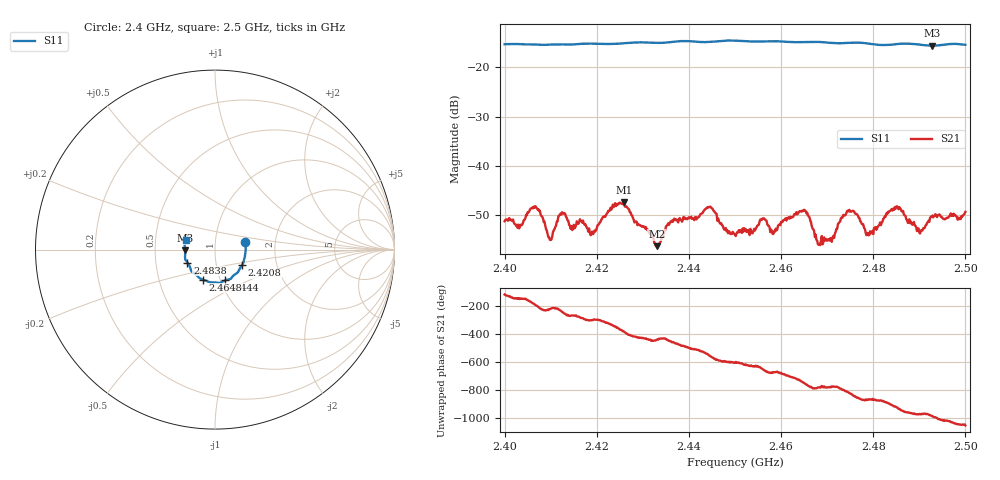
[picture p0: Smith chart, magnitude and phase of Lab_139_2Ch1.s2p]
# Hz S RI R 50
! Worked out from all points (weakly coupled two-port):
!   601 points, 2.4 GHz to 2.5 GHz, reference 50 ohm
!   highest |S21| = -47.42 dB at 2.4258 GHz (marker M1); lowest = -56.3 dB at 2.433 GHz (marker M2)
!   lowest |S11| = -15.6 dB at 2.4928 GHz (marker M3), VSWR 1.40, Z = 35.7 - j0.322 ohm
!   |S11| at or under -10 dB: start of sweep to end of sweep
!   S12 and S22 are empty: the file has one direction only
!   S11 on the Smith chart (normalised r, x): 2.4 GHz: 1.39, +0.12; 2.4208 GHz: 1.33, -0.24; 2.444 GHz: 1.05, -0.37; 2.4648 GHz: 0.83, -0.29; 2.4838 GHz: 0.73, -0.11; 2.5 GHz: 0.72, +0.08
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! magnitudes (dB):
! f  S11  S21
! 2.4 GHz  -15.3  -51.2
! 2.4068 GHz  -15.4  -48.4
! 2.4098 GHz  -15.4  -55.0
! 2.4122 GHz  -15.3  -49.7
! 2.4167 GHz  -15.2  -51.3
! 2.4208 GHz  -15.2  -51.3
! 2.4258 GHz  -15.1  -47.4
! 2.433 GHz  -15.0  -56.3
! 2.4333 GHz  -15.0  -56.3
! 2.4363 GHz  -14.8  -51.1
! 2.444 GHz  -14.9  -48.5
! 2.45 GHz  -14.6  -54.0
! 2.4648 GHz  -14.9  -49.0
! 2.4667 GHz  -14.8  -52.2
! 2.4685 GHz  -14.9  -56.1
! 2.4747 GHz  -15.0  -49.2
! 2.479 GHz  -15.2  -54.1
! 2.4833 GHz  -15.4  -49.4
! 2.4838 GHz  -15.4  -49.0
! 2.49 GHz  -15.4  -53.5
! 2.4928 GHz  -15.6  -50.1
! 2.5 GHz  -15.4  -49.3
